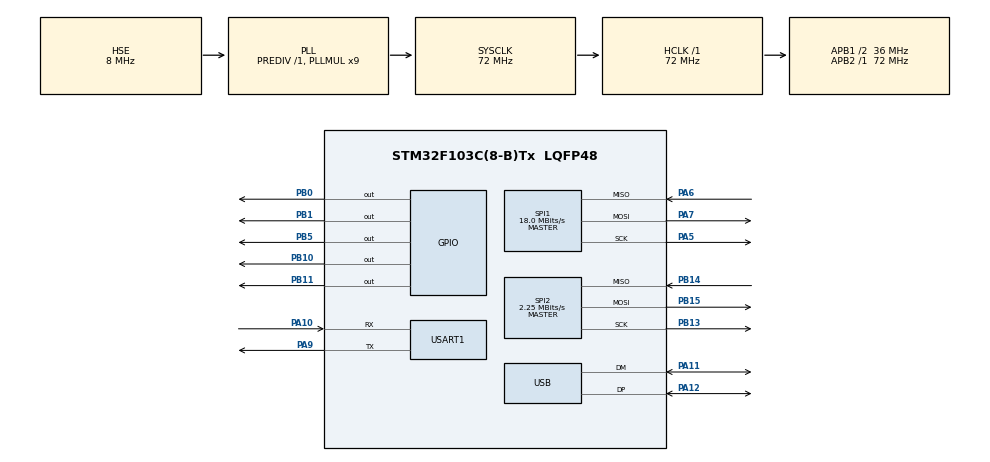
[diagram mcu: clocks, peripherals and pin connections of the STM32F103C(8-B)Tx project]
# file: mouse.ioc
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Dma.Request0=SPI1_RX
Dma.Request1=SPI1_TX
Dma.SPI1_RX.0.Direction=DMA_PERIPH_TO_MEMORY
Dma.SPI1_RX.0.Instance=DMA1_Channel2
Dma.SPI1_RX.0.MemDataAlignment=DMA_MDATAALIGN_BYTE
Dma.SPI1_RX.0.MemInc=DMA_MINC_ENABLE
Dma.SPI1_RX.0.Mode=DMA_NORMAL
Dma.SPI1_RX.0.PeriphDataAlignment=DMA_PDATAALIGN_BYTE
Dma.SPI1_RX.0.PeriphInc=DMA_PINC_DISABLE
Dma.SPI1_RX.0.Priority=DMA_PRIORITY_MEDIUM
Dma.SPI1_TX.1.Direction=DMA_MEMORY_TO_PERIPH
Dma.SPI1_TX.1.Instance=DMA1_Channel3
Dma.SPI1_TX.1.MemDataAlignment=DMA_MDATAALIGN_BYTE
Dma.SPI1_TX.1.MemInc=DMA_MINC_ENABLE
Dma.SPI1_TX.1.Mode=DMA_NORMAL
Dma.SPI1_TX.1.PeriphDataAlignment=DMA_PDATAALIGN_BYTE
Dma.SPI1_TX.1.PeriphInc=DMA_PINC_DISABLE
Dma.SPI1_TX.1.Priority=DMA_PRIORITY_MEDIUM
Mcu.Family=STM32F1
Mcu.Name=STM32F103C(8-B)Tx
Mcu.Package=LQFP48
NVIC.DMA1_Channel2_IRQn=true\:0\:0\:false\:false\:true\:false\:true\:true
NVIC.DMA1_Channel3_IRQn=true\:0\:0\:false\:false\:true\:false\:true\:true
NVIC.PriorityGroup=NVIC_PRIORITYGROUP_4
NVIC.TIM3_IRQn=true\:0\:0\:false\:false\:true\:true\:true\:true
NVIC.USART1_IRQn=true\:0\:0\:false\:false\:true\:true\:true\:true
NVIC.USB_LP_CAN1_RX0_IRQn=true\:0\:0\:false\:false\:true\:false\:true\:true
PA10.Mode=Asynchronous
PA10.Signal=USART1_RX
PA11.Mode=Device
PA11.Signal=USB_DM
PA12.Mode=Device
PA12.Signal=USB_DP
PA13.Mode=Serial_Wire
PA13.Signal=SYS_JTMS-SWDIO
PA14.Mode=Serial_Wire
PA14.Signal=SYS_JTCK-SWCLK
PA5.Mode=Full_Duplex_Master
PA5.Signal=SPI1_SCK
PA6.Mode=Full_Duplex_Master
PA6.Signal=SPI1_MISO
PA7.Mode=Full_Duplex_Master
PA7.Signal=SPI1_MOSI
PA9.Mode=Asynchronous
PA9.Signal=USART1_TX
PB0.GPIO_ModeDefaultOutputPP=GPIO_MODE_OUTPUT_OD
PB0.GPIO_PuPd=GPIO_PULLUP
PB0.PinState=GPIO_PIN_SET
PB0.Signal=GPIO_Output
PB1.GPIO_PuPd=GPIO_PULLUP
PB1.GPIO_Speed=GPIO_SPEED_FREQ_HIGH
PB1.PinState=GPIO_PIN_SET
PB1.Signal=GPIO_Output
PB10.GPIO_ModeDefaultOutputPP=GPIO_MODE_OUTPUT_OD
PB10.GPIO_PuPd=GPIO_PULLUP
PB10.GPIO_Speed=GPIO_SPEED_FREQ_HIGH
PB10.PinState=GPIO_PIN_SET
PB10.Signal=GPIO_Output
PB11.GPIO_ModeDefaultOutputPP=GPIO_MODE_OUTPUT_OD
PB11.GPIO_PuPd=GPIO_PULLUP
PB11.GPIO_Speed=GPIO_SPEED_FREQ_HIGH
PB11.PinState=GPIO_PIN_SET
PB11.Signal=GPIO_Output
PB13.Mode=Full_Duplex_Master
PB13.Signal=SPI2_SCK
PB14.Mode=Full_Duplex_Master
PB14.Signal=SPI2_MISO
PB15.Mode=Full_Duplex_Master
PB15.Signal=SPI2_MOSI
PB5.GPIO_PuPd=GPIO_PULLUP
PB5.GPIO_Speed=GPIO_SPEED_FREQ_HIGH
PB5.PinState=GPIO_PIN_RESET
PB5.Signal=GPIO_Output
PD0-OSC_IN.Mode=HSE-External-Oscillator
PD0-OSC_IN.Signal=RCC_OSC_IN
PD1-OSC_OUT.Mode=HSE-External-Oscillator
PD1-OSC_OUT.Signal=RCC_OSC_OUT
ProjectManager.HeapSize=0x200
ProjectManager.StackSize=0x400
ProjectManager.TargetToolchain=MDK-ARM V5.32
RCC.AHBFreq_Value=72000000
RCC.APB1CLKDivider=RCC_HCLK_DIV2
RCC.APB1Freq_Value=36000000
RCC.APB1TimFreq_Value=72000000
RCC.APB2Freq_Value=72000000
RCC.APB2TimFreq_Value=72000000
RCC.HCLKFreq_Value=72000000
RCC.PLLMUL=RCC_PLL_MUL9
RCC.PLLSourceVirtual=RCC_PLLSOURCE_HSE
RCC.SYSCLKFreq_VALUE=72000000
RCC.SYSCLKSource=RCC_SYSCLKSOURCE_PLLCLK
RCC.USBFreq_Value=48000000
RCC.USBPrescaler=RCC_USBCLKSOURCE_PLL_DIV1_5
SPI1.BaudRatePrescaler=SPI_BAUDRATEPRESCALER_4
SPI1.CalculateBaudRate=18.0 MBits/s
SPI1.Direction=SPI_DIRECTION_2LINES
SPI1.Mode=SPI_MODE_MASTER
SPI1.VirtualType=VM_MASTER
SPI2.BaudRatePrescaler=SPI_BAUDRATEPRESCALER_16
SPI2.CalculateBaudRate=2.25 MBits/s
SPI2.DataSize=SPI_DATASIZE_8BIT
SPI2.Direction=SPI_DIRECTION_2LINES
SPI2.Mode=SPI_MODE_MASTER
SPI2.VirtualType=VM_MASTER
TIM3.CounterMode=TIM_COUNTERMODE_DOWN
TIM3.Period=1000-1
TIM3.Prescaler=72-1
USART1.Parity=PARITY_NONE
USART1.VirtualMode=VM_ASYNC
USB_DEVICE.CLASS_NAME_FS=HID
USB_DEVICE.VirtualMode=Hid
USB_DEVICE.VirtualModeFS=Hid_FS
VP_TIM3_VS_ClockSourceINT.Mode=Internal
VP_USB_DEVICE_VS_USB_DEVICE_HID_FS.Mode=HID_FS
board=custom

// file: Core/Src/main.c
/* USER CODE BEGIN Header */
/**
  ******************************************************************************
  * @file           : main.c
  * @brief          : Main program body (RX 接收端)
  ******************************************************************************
  * @attention
  *
  * Copyright (c) 2026 STMicroelectronics.
  * All rights reserved.
  *
  * This software is licensed under terms that can be found in the LICENSE file
  * in the root directory of this software component.
  * If no LICENSE file comes with this software, it is provided AS-IS.
  *
  ******************************************************************************
  */
/* USER CODE END Header */
#include "main.h"
#include "dma.h"
#include "spi.h"
#include "tim.h"
#include "usart.h"
#include "usb_device.h"
#include "sysmon.h"
#include "gpio.h"

/* USER CODE BEGIN Includes */
#include "app_main.h"
#include "NRF_Demo.h"
#include "usb_storage.h"
#include "sd_spi.h"
#include "nrf24l01.h"
#include "console.h"
/* USER CODE END Includes */

/* USER CODE BEGIN PM */
/* FreeRTOS 运行时间统计计数：由 TIM3 溢出中断递增（周期 M0b 调整为 1ms） */
uint32_t g_ulRunTimeCounter = 0;
/* USER CODE END PM */

void SystemClock_Config(void);

/* USER CODE BEGIN 0 */
extern USBD_HandleTypeDef hUsbDeviceFS;
/* USER CODE END 0 */

int main(void)
{

  /* MCU Configuration--------------------------------------------------------*/

  /* Reset of all peripherals, Initializes the Flash interface and the Systick. */
  HAL_Init();

  /* Configure the system clock */
  SystemClock_Config();

  /* Initialize all configured peripherals */
  MX_GPIO_Init();
  MX_DMA_Init();
  MX_USART1_UART_Init();
  MX_TIM3_Init();
  MX_SPI2_Init();
  MX_SPI1_Init();
  /* USER CODE BEGIN 2 */
  /* 复位原因。必须在清除标志之前读。RCC->CSR 位定义（RM0008 §8.3.2，STM32F1 的布局）：
   *   bit24  0x01000000  RMVF      写 1 清除下面全部标志
   *   bit26  0x04000000  PINRSTF   NRST 引脚复位
   *   bit27  0x08000000  PORRSTF   上电/掉电复位（F1 的 BOR 也落在这一位）
   *   bit28  0x10000000  SFTRSTF   软件复位（调试器 Reset&Run 也置这一位）
   *   bit29  0x20000000  IWDGRSTF  独立看门狗复位
   *   bit30  0x40000000  WWDGRSTF  窗口看门狗复位
   *   bit31  0x80000000  LPWRRSTF  低功耗复位
   * ⚠ 2026-10-08 订正：原先这张表写的是 F2/F4 的位序（bit24 PORRSTF、bit25 PINRSTF…），
   * 整体错位 2~3 位 —— 会把 IWDG 复位读成 lp、把 PIN 复位读成 sft。实测两处开机印证新表：
   * 烧录后 CSR=0x14000000（PIN+SFT，调试器 Reset&Run）、拔插/按 RST 后 CSR=0x04000000（PIN）。
   * 判读：正常上电 ≈ pin=1（常伴 por=1）；**反复出现 iwdg=1 才是看门狗复位循环**
   * （那时 [MON] 永远到不了 sec=10）。 */
  {
    uint32_t csr = RCC->CSR;

    dbg_printf("[BOOT] rst CSR=%08lX por=%u pin=%u sft=%u iwdg=%u wwdg=%u lp=%u\r\n",
               (unsigned long)csr,
               (unsigned)((csr >> 27) & 1U), (unsigned)((csr >> 26) & 1U),
               (unsigned)((csr >> 28) & 1U), (unsigned)((csr >> 29) & 1U),
               (unsigned)((csr >> 30) & 1U), (unsigned)((csr >> 31) & 1U));
    __HAL_RCC_CLEAR_RESET_FLAGS();
  }

  /* NRF_Demo_Init: NRF24L01 初始化/自检/RX_Mode(由 DEMO_ROLE 决定) + OLED 状态显示 */
  dbg_printf("[BOOT] demo-ok\r\n");
  NRF_Demo_Init();
  dbg_printf("[BOOT] nrf-ok\r\n");

  sysmon_init_hw();
  dbg_printf("[BOOT] iwdg-ok\r\n");

  /* SD 预初始化必须在 USB 启动前完成，否则主机枚举时 SD 尚未就绪 */
  usb_storage_preinit();
  /* 设备侧 SD-SPI 写自检（诊断用，交付前摘掉）：不经主机/WRITE10 直接验证写接口 */
  SD_WriteSelfTest();
  /* 创建 SCSI 延迟处理信号队列（READ10/WRITE10 的 SD 操作在任务中执行） */
  usb_storage_msc_task_init();

	MX_USB_DEVICE_Init();

	//USBD_Start(&hUsbDeviceFS);
  /* 启动 RTOS 应用任务（内部启动调度器，不返回） */
  dbg_printf("[BOOT] app-start\r\n");
  app_start();
  /* USER CODE END 2 */

  /* Infinite loop */
  /* USER CODE BEGIN WHILE */
  while (1)
  {
    /* 兜底：app_start() 正常不会返回 */
    /* USER CODE END WHILE */

  }
}

void SystemClock_Config(void)
{
  RCC_OscInitTypeDef RCC_OscInitStruct = {0};
  RCC_ClkInitTypeDef RCC_ClkInitStruct = {0};
  RCC_PeriphCLKInitTypeDef PeriphClkInit = {0};

  /** Initializes the RCC Oscillators according to the specified parameters
  * in the RCC_OscInitTypeDef structure.
  */
  RCC_OscInitStruct.OscillatorType = RCC_OSCILLATORTYPE_HSE;
  RCC_OscInitStruct.HSEState = RCC_HSE_ON;
  RCC_OscInitStruct.HSEPredivValue = RCC_HSE_PREDIV_DIV1;
  RCC_OscInitStruct.HSIState = RCC_HSI_ON;
  RCC_OscInitStruct.PLL.PLLState = RCC_PLL_ON;
  RCC_OscInitStruct.PLL.PLLSource = RCC_PLLSOURCE_HSE;
  RCC_OscInitStruct.PLL.PLLMUL = RCC_PLL_MUL9;
  if (HAL_RCC_OscConfig(&RCC_OscInitStruct) != HAL_OK)
  {
    Error_Handler();
  }

  /** Initializes the CPU, AHB and APB buses clocks
  */
  RCC_ClkInitStruct.ClockType = RCC_CLOCKTYPE_HCLK|RCC_CLOCKTYPE_SYSCLK
                              |RCC_CLOCKTYPE_PCLK1|RCC_CLOCKTYPE_PCLK2;
  RCC_ClkInitStruct.SYSCLKSource = RCC_SYSCLKSOURCE_PLLCLK;
  RCC_ClkInitStruct.AHBCLKDivider = RCC_SYSCLK_DIV1;
  RCC_ClkInitStruct.APB1CLKDivider = RCC_HCLK_DIV2;
  RCC_ClkInitStruct.APB2CLKDivider = RCC_HCLK_DIV1;

  if (HAL_RCC_ClockConfig(&RCC_ClkInitStruct, FLASH_LATENCY_2) != HAL_OK)
  {
    Error_Handler();
  }
  PeriphClkInit.PeriphClockSelection = RCC_PERIPHCLK_USB;
  PeriphClkInit.UsbClockSelection = RCC_USBCLKSOURCE_PLL_DIV1_5;
  if (HAL_RCCEx_PeriphCLKConfig(&PeriphClkInit) != HAL_OK)
  {
    Error_Handler();
  }
}

/* USER CODE BEGIN 4 */
/**
  * @brief TIM 溢出中断回调
  *        仅保留 TIM3：FreeRTOS 运行时间统计计数源（TIM3 已配置为 1ms）
  *        HAL tick 只由 SysTick 驱动（单源），不再经由 TIM2
  */
void HAL_TIM_PeriodElapsedCallback(TIM_HandleTypeDef *htim)
{
  if (htim->Instance == TIM3)
  {
    g_ulRunTimeCounter++;
  }
}

/* FreeRTOS 运行时间统计取值（configGENERATE_RUN_TIME_STATS=1，mydebug=1） */
unsigned long ulGetRunTimeCounterValue(void)
{
  return g_ulRunTimeCounter;
}
/* USER CODE END 4 */

void Error_Handler(void)
{
  __disable_irq();
  while (1)
  {
  }
}
